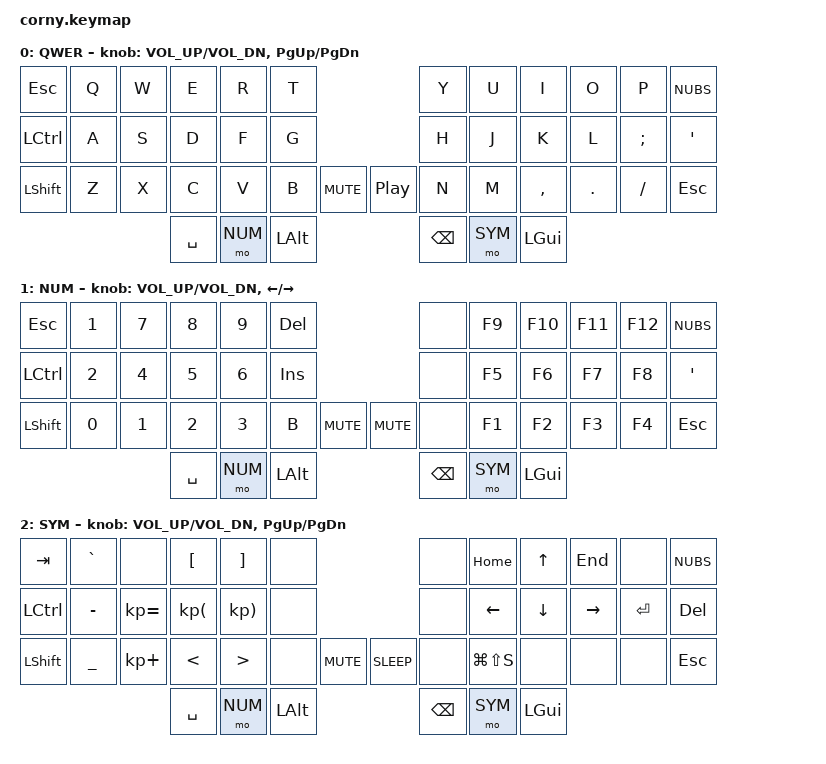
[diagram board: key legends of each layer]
#include <behaviors.dtsi>
#include <dt-bindings/zmk/keys.h>
#include <dt-bindings/zmk/bt.h>

/ {
        keymap {
                compatible = "zmk,keymap";

                QWER {
                        bindings = <
                                &kp ESC    &kp Q      &kp W      &kp E      &kp R      &kp T                              &kp Y      &kp U      &kp I      &kp O      &kp P      &kp NUBS
                                &kp LCTRL  &kp A      &kp S      &kp D      &kp F      &kp G                              &kp H      &kp J      &kp K      &kp L      &kp SEMI   &kp SQT
                                &kp LSHFT  &kp Z      &kp X      &kp C      &kp V      &kp B      &kp C_MUTE  &kp C_PP    &kp N      &kp M      &kp COMMA  &kp DOT    &kp FSLH   &kp ESC
                                                                 &kp SPACE  &mo NUM    &kp LALT                           &kp BSPC   &mo SYM    &kp LGUI
                        >;

                        sensor-bindings = <&inc_dec_kp C_VOL_UP C_VOL_DN &inc_dec_kp PG_UP PG_DN>;
                };
                NUM {
                        bindings = <
                                &kp ESC    &kp N1     &kp N7     &kp N8     &kp N9     &kp DEL                            &none      &kp F9     &kp F10    &kp F11    &kp F12    &kp NUBS
                                &kp LCTRL  &kp N2     &kp N4     &kp N5     &kp N6     &kp INS                            &none      &kp F5     &kp F6     &kp F7     &kp F8     &kp SQT
                                &kp LSHFT  &kp N0     &kp N1     &kp N2     &kp N3     &kp B      &kp C_MUTE  &kp C_MUTE  &none      &kp F1     &kp F2     &kp F3     &kp F4     &kp ESC
                                                                 &kp SPACE  &mo NUM    &kp LALT                           &kp BSPC   &mo SYM    &kp LGUI
                        >;

                        sensor-bindings = <&inc_dec_kp C_VOL_UP C_VOL_DN &inc_dec_kp LEFT RIGHT>;
                };
                SYM {
                        bindings = <
                                &kp TAB    &kp GRAVE  &none        &kp LBKT    &kp RBKT    &none                               &none      &kp HOME      &kp UP     &kp END    &none      &kp NUBS
                                &kp LCTRL  &kp MINUS  &kp KP_EQUAL &kp KP_LPAR &kp KP_RPAR &none                               &none      &kp LEFT      &kp DOWN   &kp RIGHT  &kp RET    &kp DEL
                                &kp LSHFT  &kp UNDER  &kp KP_PLUS  &kp LT      &kp GT      &none      &kp C_MUTE  &kp C_SLEEP  &none      &kp LG(LS(S)) &none      &none      &none      &kp ESC
                                                                   &kp SPACE   &mo NUM     &kp LALT                            &kp BSPC   &mo SYM       &kp LGUI
                        >;

                        sensor-bindings = <&inc_dec_kp C_VOL_UP C_VOL_DN &inc_dec_kp PG_UP PG_DN>;
                };
        };
};
